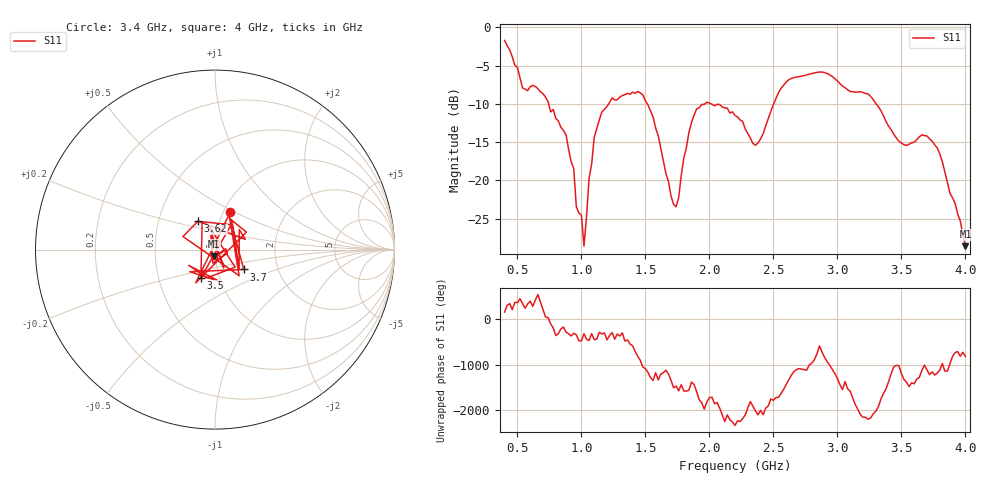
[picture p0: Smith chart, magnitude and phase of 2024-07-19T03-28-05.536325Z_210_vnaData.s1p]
!Created with skrf (http://scikit-rf.org).
# Hz S RI R 50.0
!freq ReS11 ImS11
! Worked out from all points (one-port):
!   181 points, 400 MHz to 4 GHz, reference 50 ohm
!   lowest |S11| = -28.6 dB at 4 GHz (marker M1), VSWR 1.08, Z = 49.1 - j3.58 ohm
!   |S11| at or under -10 dB: 744 MHz to 1.213 GHz (468.8 MHz wide, 47.9 % of centre); 2.014 GHz to 2.502 GHz (488.2 MHz wide, 21.6 % of centre); 3.302 GHz to end of sweep (the widest 3 of 4)
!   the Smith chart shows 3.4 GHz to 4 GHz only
!   S11 on the Smith chart (normalised r, x): 3.4 GHz: 1.08, +0.48; 3.5 GHz: 0.82, -0.26; 3.62 GHz: 0.79, +0.26; 3.7 GHz: 1.34, -0.31; 4 GHz: 0.98, -0.07
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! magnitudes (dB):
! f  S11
! 400 MHz  -1.7
! 540 MHz  -7.9
! 700 MHz  -8.7
! 860 MHz  -13.5
! 940 MHz  -18.4
! 960 MHz  -23.4
! 1 GHz  -24.6
! 1.02 GHz  -28.6
! 1.1 GHz  -14.4
! 1.3 GHz  -9.1
! 1.48 GHz  -8.8
! 1.56 GHz  -11.7
! 1.72 GHz  -23.1
! 1.76 GHz  -22.2
! 1.84 GHz  -13.7
! 1.9 GHz  -10.7
! 2.2 GHz  -11.5
! 2.36 GHz  -15.4
! 2.66 GHz  -6.6
! 3.1 GHz  -8.4
! 3.24 GHz  -8.7
! 3.4 GHz  -12.9
! 3.5 GHz  -15.1
! 3.56 GHz  -15.3
! 3.62 GHz  -14.7
! 3.7 GHz  -14.2
! 3.8 GHz  -16.6
! 4 GHz  -28.6
